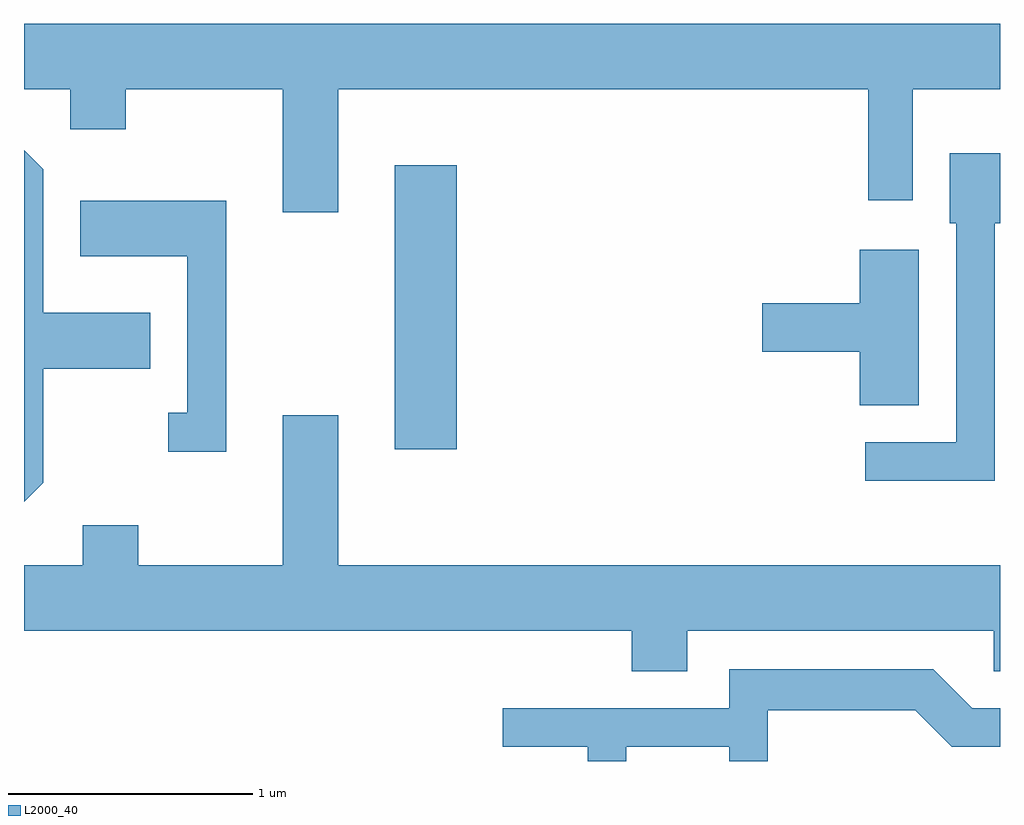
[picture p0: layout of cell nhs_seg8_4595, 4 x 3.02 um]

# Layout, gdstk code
import gdstk
lib = gdstk.Library(unit=1e-6, precision=1e-09)
def R(c, l, rs):  # rectangles x0, y0, x1, y1
    for r in rs: c.add(gdstk.rectangle(r[:2], r[2:], *l))
def P(c, l, *ps):  # polygons
    for p in ps: c.add(gdstk.Polygon(p, *l))
L2000_40 = (2000, 40)

nhs_seg8_4595 = lib.new_cell('nhs_seg8_4595')
R(nhs_seg8_4595, L2000_40, [(325.131,1821.621,325.384,1822.784)])
P(nhs_seg8_4595, L2000_40, [(324.899,1823.096),(327.071,1823.096),(327.071,1822.641),(327.254,1822.641),(327.254,1823.096),(327.611,1823.096),(327.611,1823.364),(323.611,1823.364),(323.611,1823.096),(323.801,1823.096),(323.801,1822.931),(324.029,1822.931),(324.029,1823.096),(324.671,1823.096),(324.671,1822.591),(324.899,1822.591)],
  [(323.689,1821.484),(323.689,1821.951),(324.129,1821.951),(324.129,1822.179),(323.689,1822.179),(323.689,1822.767),(323.611,1822.845),(323.611,1821.406)],
  [(327.589,1822.546),(327.611,1822.546),(327.611,1822.834),(327.406,1822.834),(327.406,1822.546),(327.431,1822.546),(327.431,1821.649),(327.058,1821.649),(327.058,1821.491),(327.589,1821.491)],
  [(324.439,1822.639),(323.841,1822.639),(323.841,1822.411),(324.281,1822.411),(324.281,1821.769),(324.203,1821.769),(324.203,1821.611),(324.439,1821.611)],
  [(327.279,1822.439),(327.036,1822.439),(327.036,1822.219),(326.636,1822.219),(326.636,1822.021),(327.036,1822.021),(327.036,1821.801),(327.279,1821.801)],
  [(326.329,1820.876),(327.586,1820.876),(327.586,1820.711),(327.611,1820.711),(327.611,1821.144),(324.899,1821.144),(324.899,1821.759),(324.671,1821.759),(324.671,1821.144),(324.079,1821.144),(324.079,1821.309),(323.851,1821.309),(323.851,1821.144),(323.611,1821.144),(323.611,1820.876),(326.101,1820.876),(326.101,1820.711),(326.329,1820.711)],
  [(326.079,1820.401),(326.501,1820.401),(326.501,1820.342),(326.659,1820.342),(326.659,1820.551),(327.264,1820.551),(327.414,1820.401),(327.611,1820.401),(327.611,1820.559),(327.497,1820.559),(327.337,1820.719),(326.501,1820.719),(326.501,1820.559),(325.573,1820.559),(325.573,1820.401),(325.921,1820.401),(325.921,1820.342),(326.079,1820.342)])

lib.write_gds('nhs_seg8_4595.gds')
